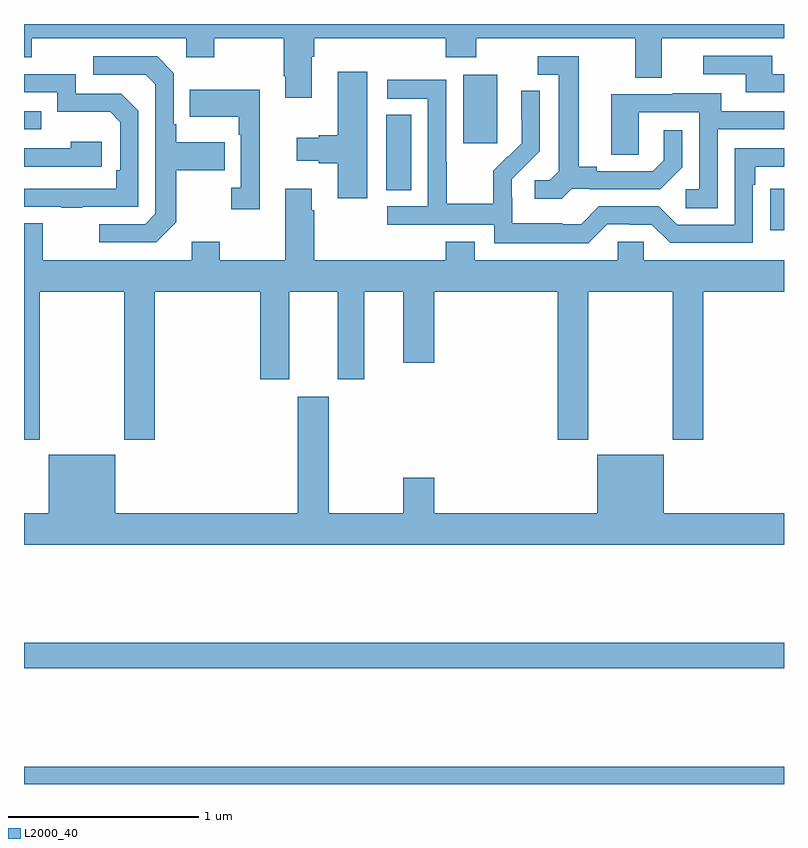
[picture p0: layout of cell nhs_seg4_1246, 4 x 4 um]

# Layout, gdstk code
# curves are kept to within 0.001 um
import gdstk
lib = gdstk.Library(unit=1e-6, precision=1e-09)
def R(c, l, rs):  # rectangles x0, y0, x1, y1
    for r in rs: c.add(gdstk.rectangle(r[:2], r[2:], *l))
def P(c, l, *ps):  # polygons
    for p in ps: c.add(gdstk.Polygon(p, *l))
L2000_40 = (2000, 40)

nhs_seg4_1246 = lib.new_cell('nhs_seg4_1246')
R(nhs_seg4_1246, L2000_40, [(175,788.9,179,788.992), (175,789.508,179,789.644), (178.927,791.814,179,792.032), (176.906,792.025,177.037,792.422), (177.311,792.273,177.49,792.634), (175,792.345,175.091,792.441)])
P(nhs_seg4_1246, L2000_40, [(176.515,792.728),(176.528,792.728),(176.528,792.824),(177.221,792.824),(177.221,792.725),(177.381,792.725),(177.381,792.824),(178.217,792.824),(178.217,792.616),(178.357,792.616),(178.357,792.824),(179,792.824),(179,792.9),(175,792.9),(175,792.725),(175.041,792.725),(175.041,792.824),(175.854,792.824),(175.854,792.725),(176.001,792.725),(176.001,792.824),(176.368,792.824),(176.368,792.625),(176.375,792.625),(176.375,792.513),(176.515,792.513)],
  [(179,792.636),(178.939,792.636),(178.939,792.732),(178.575,792.732),(178.575,792.636),(178.799,792.636),(178.799,792.54),(179,792.54)],
  [(177.882,792.033),(177.976,792.033),(177.976,792.03),(178.348,792.03),(178.464,792.146),(178.464,792.34),(178.367,792.34),(178.367,792.183),(178.31,792.126),(178.015,792.126),(178.015,792.149),(177.919,792.149),(177.919,792.729),(177.705,792.729),(177.705,792.633),(177.815,792.633),(177.815,792.125),(177.768,792.078),(177.687,792.078),(177.687,791.981),(177.83,791.981)],
  [(175.801,791.857),(175.801,792.13),(176.057,792.13),(176.057,792.277),(175.801,792.277),(175.801,792.373),(175.788,792.373),(175.788,792.642),(175.701,792.729),(175.365,792.729),(175.365,792.633),(175.641,792.633),(175.692,792.582),(175.692,791.901),(175.638,791.847),(175.395,791.847),(175.395,791.751),(175.695,791.751)],
  [(176.806,792.649),(176.651,792.649),(176.651,792.314),(176.552,792.314),(176.552,792.301),(176.436,792.301),(176.436,792.179),(176.552,792.179),(176.552,792.167),(176.651,792.167),(176.651,791.982),(176.806,791.982)],
  [(175.307,791.937),(175.602,791.937),(175.602,792.444),(175.512,792.534),(175.272,792.534),(175.272,792.636),(175,792.636),(175,792.54),(175.176,792.54),(175.176,792.437),(175.453,792.437),(175.506,792.384),(175.506,792.13),(175.486,792.13),(175.486,792.033),(175,792.033),(175,791.937),(175.195,791.937),(175.195,791.932),(175.307,791.932)],
  [(178.071,791.847),(178.187,791.847),(178.187,791.844),(178.305,791.844),(178.401,791.748),(178.836,791.748),(178.836,792.053),(178.849,792.053),(178.849,792.15),(179,792.15),(179,792.246),(178.74,792.246),(178.74,791.844),(178.437,791.844),(178.341,791.94),(178.026,791.94),(177.933,791.847),(177.833,791.847),(177.833,791.851),(177.57,791.851),(177.57,791.985),(177.568,791.985),(177.568,792.082),(177.714,792.23),(177.714,792.548),(177.618,792.548),(177.618,792.394),(177.62,792.394),(177.62,792.272),(177.549,792.201),(177.546,792.204),(177.469,792.127),(177.469,791.953),(177.225,791.953),(177.225,792.176),(177.222,792.176),(177.222,792.606),(176.913,792.606),(176.913,792.507),(177.126,792.507),(177.126,791.94),(176.913,791.94),(176.913,791.844),(177.474,791.844),(177.474,791.747),(177.971,791.747)],
  [(176.24,792.553),(175.873,792.553),(175.873,792.413),(176.13,792.413),(176.13,792.317),(176.142,792.317),(176.142,792.038),(176.091,792.038),(176.091,791.925),(176.24,791.925)],
  [(178.65,792.345),(179,792.345),(179,792.441),(178.669,792.441),(178.669,792.535),(178.415,792.535),(178.415,792.531),(178.091,792.531),(178.091,792.211),(178.236,792.211),(178.236,792.435),(178.554,792.435),(178.554,792.03),(178.482,792.03),(178.482,791.929),(178.65,791.929)],
  [(175.408,792.28),(175.247,792.28),(175.247,792.246),(175,792.246),(175,792.15),(175.408,792.15)],
  [(175.083,791.492),(175.528,791.492),(175.528,790.713),(175.688,790.713),(175.688,791.492),(176.243,791.492),(176.243,791.031),(176.395,791.031),(176.395,791.492),(176.651,791.492),(176.651,791.031),(176.791,791.031),(176.791,791.492),(176.996,791.492),(176.996,791.118),(177.16,791.118),(177.16,791.492),(177.809,791.492),(177.809,790.713),(177.969,790.713),(177.969,791.492),(178.414,791.492),(178.414,790.713),(178.574,790.713),(178.574,791.492),(179,791.492),(179,791.656),(178.263,791.656),(178.263,791.754),(178.125,791.754),(178.125,791.656),(177.373,791.656),(177.373,791.755),(177.221,791.755),(177.221,791.656),(176.528,791.656),(176.528,791.921),(176.515,791.921),(176.515,792.034),(176.375,792.034),(176.375,791.656),(176.031,791.656),(176.031,791.755),(175.883,791.755),(175.883,791.656),(175.099,791.656),(175.099,791.851),(175,791.851),(175,790.713),(175.083,790.713)],
  [(179,790.324),(178.366,790.324),(178.366,790.633),(178.016,790.633),(178.016,790.324),(177.16,790.324),(177.16,790.513),(176.996,790.513),(176.996,790.324),(176.605,790.324),(176.605,790.939),(176.441,790.939),(176.441,790.324),(175.48,790.324),(175.48,790.633),(175.13,790.633),(175.13,790.324),(175,790.324),(175,790.16),(179,790.16)])

lib.write_gds('nhs_seg4_1246.gds')
